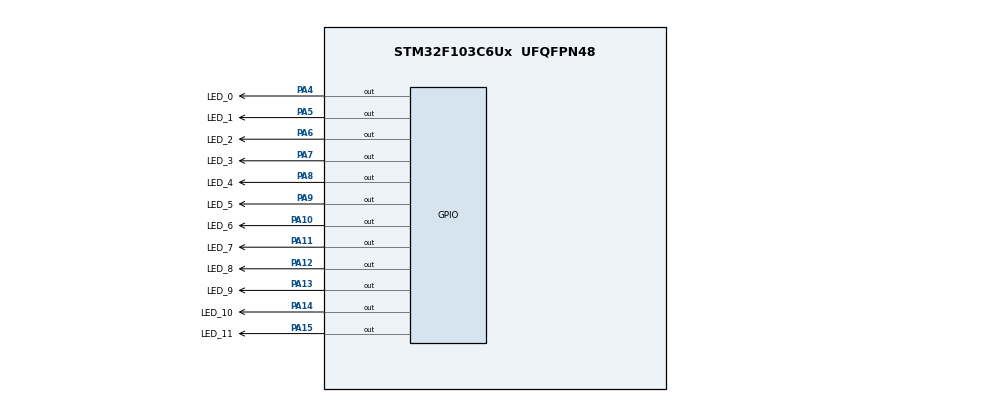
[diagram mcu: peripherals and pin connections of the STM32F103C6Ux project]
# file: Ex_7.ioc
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Mcu.Family=STM32F1
Mcu.Name=STM32F103C6Ux
Mcu.Package=UFQFPN48
NVIC.PriorityGroup=NVIC_PRIORITYGROUP_4
PA10.GPIO_Label=LED_6
PA10.Signal=GPIO_Output
PA11.GPIO_Label=LED_7
PA11.Signal=GPIO_Output
PA12.GPIO_Label=LED_8
PA12.Signal=GPIO_Output
PA13.GPIO_Label=LED_9
PA13.Signal=GPIO_Output
PA14.GPIO_Label=LED_10
PA14.Signal=GPIO_Output
PA15.GPIO_Label=LED_11
PA15.Signal=GPIO_Output
PA4.GPIO_Label=LED_0
PA4.Signal=GPIO_Output
PA5.GPIO_Label=LED_1
PA5.Signal=GPIO_Output
PA6.GPIO_Label=LED_2
PA6.Signal=GPIO_Output
PA7.GPIO_Label=LED_3
PA7.Signal=GPIO_Output
PA8.GPIO_Label=LED_4
PA8.Signal=GPIO_Output
PA9.GPIO_Label=LED_5
PA9.Signal=GPIO_Output
ProjectManager.HeapSize=0x200
ProjectManager.StackSize=0x400
ProjectManager.TargetToolchain=STM32CubeIDE
RCC.APB1Freq_Value=8000000
RCC.APB2Freq_Value=8000000
VP_SYS_VS_ND.Mode=No_Debug
board=custom

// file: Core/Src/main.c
/* USER CODE BEGIN Header */
/**
  ******************************************************************************
  * @file           : main.c
  * @brief          : Main program body
  ******************************************************************************
  * @attention
  *
  * <h2><center>&copy; Copyright (c) 2023 STMicroelectronics.
  * All rights reserved.</center></h2>
  *
  * This software component is licensed by ST under BSD 3-Clause license,
  * the "License"; You may not use this file except in compliance with the
  * License. You may obtain a copy of the License at:
  *                        opensource.org/licenses/BSD-3-Clause
  *
  ******************************************************************************
  */
/* USER CODE END Header */
#include "main.h"

void SystemClock_Config(void);
static void MX_GPIO_Init(void);
/* USER CODE BEGIN PFP */
void clearAllClock();
void setNumberOnClock(int num);
void clearNumberOnClock(int num);
/* USER CODE END PFP */

int main(void)
{

  /* MCU Configuration--------------------------------------------------------*/

  /* Reset of all peripherals, Initializes the Flash interface and the Systick. */
  HAL_Init();

  /* Configure the system clock */
  SystemClock_Config();

  /* Initialize all configured peripherals */
  MX_GPIO_Init();

  /* Infinite loop */
  /* USER CODE BEGIN WHILE */
  int sec = 0;
  int min = 0;
  int h = 0;
  int count = 0;
  while (1) // ***********While For Exercise 10***********
  {
    /* USER CODE END WHILE */
	  count++;
	  if (count == 5)
	  {
		  sec++;
		  count = 0;
	  }
	  if (sec == 12)
	  {
		  min++;
		  sec = 0;
	  }
	  if (min == 12)
	  {
		  h++;
		  min = 0;
	  }
	  if (h == 12)
	  {
		  h = 0;
	  }
	  for (int i = 0; i < 12; i++)
	  {
	  	  if (i != sec && i != min && i != h) clearNumberOnClock(i);
	  }
	  setNumberOnClock(sec);
	  setNumberOnClock(min);
	  setNumberOnClock(h);
	  HAL_Delay(1000);
  }
}

void SystemClock_Config(void)
{
  RCC_OscInitTypeDef RCC_OscInitStruct = {0};
  RCC_ClkInitTypeDef RCC_ClkInitStruct = {0};

  /** Initializes the RCC Oscillators according to the specified parameters
  * in the RCC_OscInitTypeDef structure.
  */
  RCC_OscInitStruct.OscillatorType = RCC_OSCILLATORTYPE_HSI;
  RCC_OscInitStruct.HSIState = RCC_HSI_ON;
  RCC_OscInitStruct.HSICalibrationValue = RCC_HSICALIBRATION_DEFAULT;
  RCC_OscInitStruct.PLL.PLLState = RCC_PLL_NONE;
  if (HAL_RCC_OscConfig(&RCC_OscInitStruct) != HAL_OK)
  {
    Error_Handler();
  }
  /** Initializes the CPU, AHB and APB buses clocks
  */
  RCC_ClkInitStruct.ClockType = RCC_CLOCKTYPE_HCLK|RCC_CLOCKTYPE_SYSCLK
                              |RCC_CLOCKTYPE_PCLK1|RCC_CLOCKTYPE_PCLK2;
  RCC_ClkInitStruct.SYSCLKSource = RCC_SYSCLKSOURCE_HSI;
  RCC_ClkInitStruct.AHBCLKDivider = RCC_SYSCLK_DIV1;
  RCC_ClkInitStruct.APB1CLKDivider = RCC_HCLK_DIV1;
  RCC_ClkInitStruct.APB2CLKDivider = RCC_HCLK_DIV1;

  if (HAL_RCC_ClockConfig(&RCC_ClkInitStruct, FLASH_LATENCY_0) != HAL_OK)
  {
    Error_Handler();
  }
}

static void MX_GPIO_Init(void)
{
  GPIO_InitTypeDef GPIO_InitStruct = {0};

  /* GPIO Ports Clock Enable */
  __HAL_RCC_GPIOA_CLK_ENABLE();

  /*Configure GPIO pin Output Level */
  HAL_GPIO_WritePin(GPIOA, LED_0_Pin|LED_1_Pin|LED_2_Pin|LED_3_Pin
                          |LED_4_Pin|LED_5_Pin|LED_6_Pin|LED_7_Pin
                          |LED_8_Pin|LED_9_Pin|LED_10_Pin|LED_11_Pin, GPIO_PIN_RESET);

  /*Configure GPIO pins : LED_0_Pin LED_1_Pin LED_2_Pin LED_3_Pin
                           LED_4_Pin LED_5_Pin LED_6_Pin LED_7_Pin
                           LED_8_Pin LED_9_Pin LED_10_Pin LED_11_Pin */
  GPIO_InitStruct.Pin = LED_0_Pin|LED_1_Pin|LED_2_Pin|LED_3_Pin
                          |LED_4_Pin|LED_5_Pin|LED_6_Pin|LED_7_Pin
                          |LED_8_Pin|LED_9_Pin|LED_10_Pin|LED_11_Pin;
  GPIO_InitStruct.Mode = GPIO_MODE_OUTPUT_PP;
  GPIO_InitStruct.Pull = GPIO_NOPULL;
  GPIO_InitStruct.Speed = GPIO_SPEED_FREQ_LOW;
  HAL_GPIO_Init(GPIOA, &GPIO_InitStruct);

}

/* USER CODE BEGIN 4 */
  void clearAllClock() // ***********Exercise 7***********
  {
	  HAL_GPIO_WritePin(GPIOA, LED_0_Pin | LED_1_Pin | LED_2_Pin | LED_3_Pin | LED_4_Pin | LED_5_Pin |
			    			   LED_6_Pin | LED_7_Pin | LED_8_Pin | LED_9_Pin | LED_10_Pin | LED_11_Pin, 1);
  }
  void setNumberOnClock(int num) // ***********Exercise 8***********
  {
	  switch(num)
	  {
	  case 0:
		  HAL_GPIO_WritePin(GPIOA, LED_0_Pin, 0);
		  break;
	  case 1:
		  HAL_GPIO_WritePin(GPIOA, LED_1_Pin, 0);
		  break;
	  case 2:
		  HAL_GPIO_WritePin(GPIOA, LED_2_Pin, 0);
		  break;
	  case 3:
		  HAL_GPIO_WritePin(GPIOA, LED_3_Pin, 0);
		  break;
	  case 4:
		  HAL_GPIO_WritePin(GPIOA, LED_4_Pin, 0);
		  break;
	  case 5:
		  HAL_GPIO_WritePin(GPIOA, LED_5_Pin, 0);
		  break;
	  case 6:
		  HAL_GPIO_WritePin(GPIOA, LED_6_Pin, 0);
		  break;
	  case 7:
		  HAL_GPIO_WritePin(GPIOA, LED_7_Pin, 0);
		  break;
	  case 8:
		  HAL_GPIO_WritePin(GPIOA, LED_8_Pin, 0);
		  break;
	  case 9:
		  HAL_GPIO_WritePin(GPIOA, LED_9_Pin, 0);
		  break;
	  case 10:
		 HAL_GPIO_WritePin(GPIOA, LED_10_Pin, 0);
		 break;
	  case 11:
		 HAL_GPIO_WritePin(GPIOA, LED_11_Pin, 0);
		 break;
	  default:
		 break;
	  }
  }
  void clearNumberOnClock(int num) // ***********Exercise 9***********
  {
	  switch(num)
	  {
	  case 0:
		  HAL_GPIO_WritePin(GPIOA, LED_0_Pin, 1);
		  break;
	  case 1:
		  HAL_GPIO_WritePin(GPIOA, LED_1_Pin, 1);
		  break;
	  case 2:
		  HAL_GPIO_WritePin(GPIOA, LED_2_Pin, 1);
		  break;
	  case 3:
		  HAL_GPIO_WritePin(GPIOA, LED_3_Pin, 1);
		  break;
	  case 4:
		  HAL_GPIO_WritePin(GPIOA, LED_4_Pin, 1);
		  break;
	  case 5:
		  HAL_GPIO_WritePin(GPIOA, LED_5_Pin, 1);
		  break;
	  case 6:
		  HAL_GPIO_WritePin(GPIOA, LED_6_Pin, 1);
		  break;
	  case 7:
		  HAL_GPIO_WritePin(GPIOA, LED_7_Pin, 1);
		  break;
	  case 8:
		  HAL_GPIO_WritePin(GPIOA, LED_8_Pin, 1);
		  break;
	  case 9:
		  HAL_GPIO_WritePin(GPIOA, LED_9_Pin, 1);
		  break;
	  case 10:
		 HAL_GPIO_WritePin(GPIOA, LED_10_Pin, 1);
		 break;
	  case 11:
		 HAL_GPIO_WritePin(GPIOA, LED_11_Pin, 1);
		 break;
	  default:
		 break;
	  }
  }
/* USER CODE END 4 */

void Error_Handler(void)
{
  __disable_irq();
  while (1)
  {
  }
}

/************************ (C) COPYRIGHT STMicroelectronics *****END OF FILE****/
